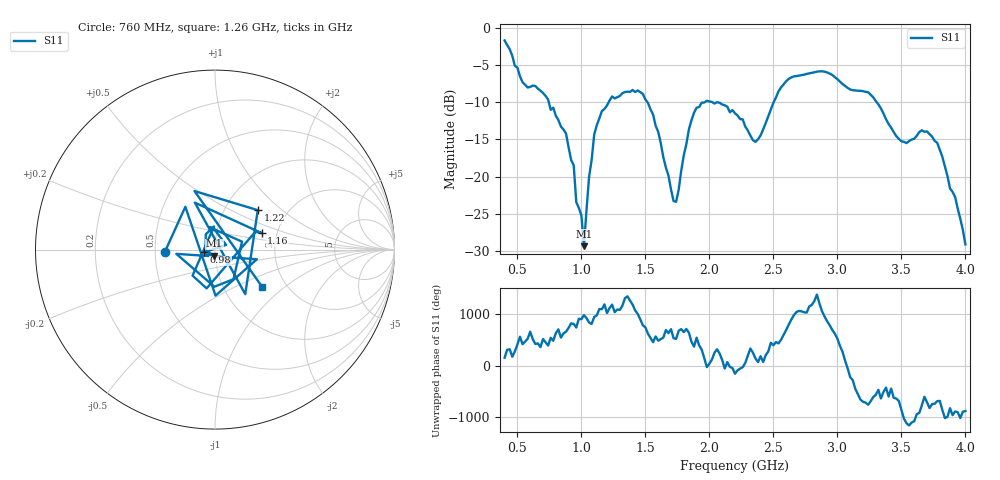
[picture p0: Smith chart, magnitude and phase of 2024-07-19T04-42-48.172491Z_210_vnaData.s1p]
!Created with skrf (http://scikit-rf.org).
# Hz S RI R 50.0
!freq ReS11 ImS11
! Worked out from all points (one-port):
!   181 points, 400 MHz to 4 GHz, reference 50 ohm
!   lowest |S11| = -29.4 dB at 1.02 GHz (marker M1), VSWR 1.07, Z = 49.5 - j3.36 ohm
!   |S11| at or under -10 dB: 745 MHz to 1.214 GHz (468.5 MHz wide, 47.8 % of centre); 2.023 GHz to 2.502 GHz (479.6 MHz wide, 21.2 % of centre); 3.306 GHz to end of sweep (the widest 3 of 4)
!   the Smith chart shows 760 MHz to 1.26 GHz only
!   S11 on the Smith chart (normalised r, x): 760 MHz: 0.56, -0.02; 980 MHz: 0.89, -0.03; 1.16 GHz: 1.66, +0.33; 1.22 GHz: 1.42, +0.70; 1.26 GHz: 1.51, -0.71
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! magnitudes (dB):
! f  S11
! 400 MHz  -1.7
! 540 MHz  -7.3
! 760 MHz  -11.0
! 860 MHz  -13.7
! 940 MHz  -18.5
! 960 MHz  -23.5
! 980 MHz  -24.2
! 1.02 GHz  -29.4
! 1.06 GHz  -20.0
! 1.1 GHz  -14.4
! 1.16 GHz  -11.2
! 1.22 GHz  -9.8
! 1.26 GHz  -9.5
! 1.3 GHz  -9.2
! 1.48 GHz  -8.9
! 1.6 GHz  -14.0
! 1.72 GHz  -23.3
! 1.76 GHz  -21.8
! 1.84 GHz  -13.6
! 1.9 GHz  -10.7
! 2.2 GHz  -11.5
! 2.36 GHz  -15.3
! 2.66 GHz  -6.5
! 3.1 GHz  -8.3
! 3.24 GHz  -8.7
! 3.56 GHz  -15.2
! 3.78 GHz  -15.5
! 4 GHz  -29.1
